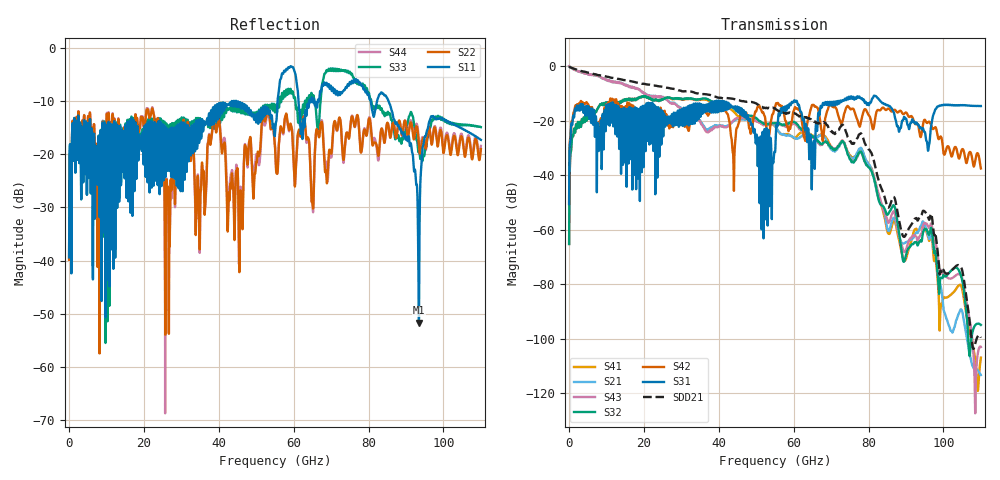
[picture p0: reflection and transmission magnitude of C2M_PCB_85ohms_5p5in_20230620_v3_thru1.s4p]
! Info: Touchstone file created by Circ.  Input file=C2M_PCB_85ohms_5p5in_20230620_v3.circ
# Hz S RI R 50
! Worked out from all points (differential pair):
!   11000 points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, 10 MHz to 110 GHz, reference 50 ohm
!   strongest paths, dB at 10 MHz, 27.51 GHz, 55.01 GHz, 82.51 GHz, 110 GHz:
!     S31: -50.6, -17.6, -31.6, -11.8, -14.7
!     S42: -50.5, -20.2, -15.2, -16.1, -37.6
!     S32: -65.3, -12.0, -20.9, -47.9, -94.9
!     S43: -0.1, -13.9, -21.3, -46.1, -103.0
!     S21: -0.1, -13.5, -21.9, -47.8, -113.3
!     S41: -65.2, -12.2, -22.0, -46.7, -106.9
!   taken as a pair (ports 3,1 in; 4,2 out), SDD21 dB: -0.1, -8.4, -15.6, -41.1, -99.6
!   lowest |S11| = -51.6 dB at 93.45 GHz (marker M1), VSWR 1.01, Z = 50.2 + j0.0986 ohm
!   |S11| at or under -10 dB: start of sweep to 43.46 GHz; 44.63 GHz to 55.69 GHz (11.05 GHz wide, 22 % of centre); 85.31 GHz to end of sweep (the widest 3 of 11)
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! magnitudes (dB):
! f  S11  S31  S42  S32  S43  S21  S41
! 10 MHz  -39.4  -50.6  -50.5  -65.3  -0.1  -0.1  -65.2
! 1.29 GHz  -14.8  -18.8  -16.8  -23.3  -1.3  -1.3  -23.3
! 8.37 GHz  -16.3  -24.1  -20.2  -14.0  -4.2  -4.2  -14.0
! 36.24 GHz  -14.4  -15.4  -16.7  -11.9  -23.4  -22.7  -12.3
! 76.97 GHz  -6.3  -11.1  -19.5  -33.1  -33.4  -31.8  -32.1
! 93.45 GHz  -51.6  -21.9  -23.2  -64.6  -63.0  -60.2  -60.1
! 110 GHz  -17.3  -14.7  -37.6  -94.9  -103.0  -113.3  -106.9
